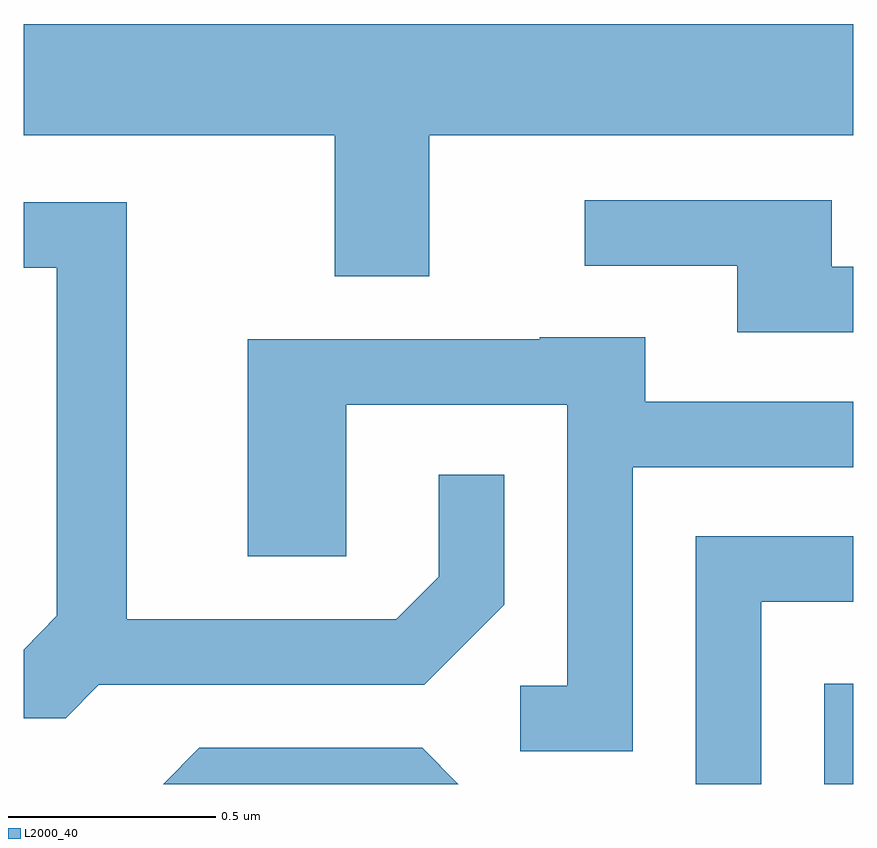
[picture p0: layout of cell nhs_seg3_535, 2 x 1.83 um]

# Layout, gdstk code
import gdstk
lib = gdstk.Library(unit=1e-6, precision=1e-09)
def R(c, l, rs):  # rectangles x0, y0, x1, y1
    for r in rs: c.add(gdstk.rectangle(r[:2], r[2:], *l))
def P(c, l, *ps):  # polygons
    for p in ps: c.add(gdstk.Polygon(p, *l))
L2000_40 = (2000, 40)

nhs_seg3_535 = lib.new_cell('nhs_seg3_535')
R(nhs_seg3_535, L2000_40, [(190.541,1239.892,190.611,1240.134)])
P(nhs_seg3_535, L2000_40, [(189.589,1241.456),(190.611,1241.456),(190.611,1241.724),(188.611,1241.724),(188.611,1241.456),(189.361,1241.456),(189.361,1241.116),(189.589,1241.116)],
  [(190.611,1241.139),(190.559,1241.139),(190.559,1241.299),(189.963,1241.299),(189.963,1241.141),(190.331,1241.141),(190.331,1240.981),(190.611,1240.981)],
  [(188.792,1240.131),(189.577,1240.131),(189.769,1240.324),(189.769,1240.638),(189.611,1240.638),(189.611,1240.392),(189.509,1240.289),(188.859,1240.289),(188.859,1241.294),(188.611,1241.294),(188.611,1241.136),(188.691,1241.136),(188.691,1240.297),(188.611,1240.216),(188.611,1240.051),(188.712,1240.051)],
  [(190.079,1240.656),(190.611,1240.656),(190.611,1240.814),(190.109,1240.814),(190.109,1240.969),(189.855,1240.969),(189.855,1240.964),(189.151,1240.964),(189.151,1240.441),(189.389,1240.441),(189.389,1240.806),(189.921,1240.806),(189.921,1240.129),(189.808,1240.129),(189.808,1239.971),(190.079,1239.971)],
  [(190.389,1240.331),(190.611,1240.331),(190.611,1240.489),(190.231,1240.489),(190.231,1239.892),(190.389,1239.892)],
  [(189.572,1239.979),(189.034,1239.979),(188.947,1239.892),(189.659,1239.892)])

lib.write_gds('nhs_seg3_535.gds')
